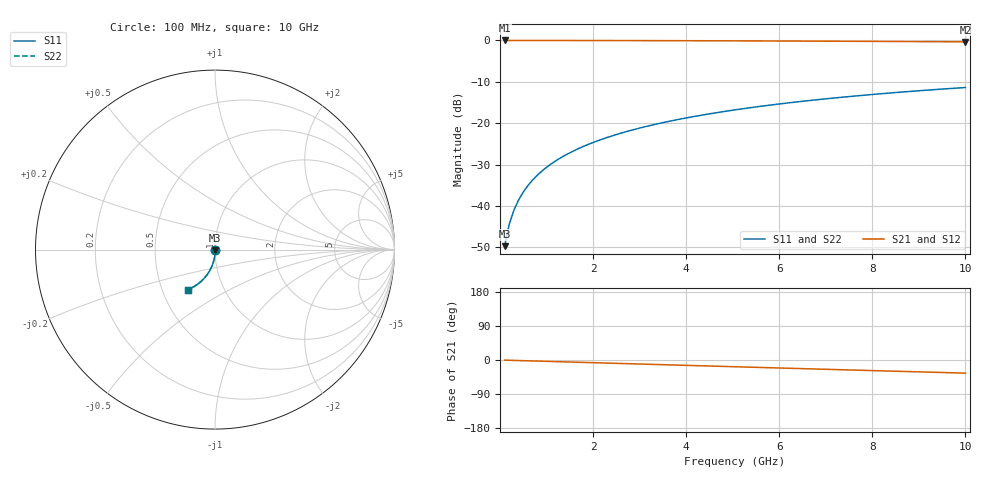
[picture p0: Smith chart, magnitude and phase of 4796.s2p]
# Hz S RI R 50.00
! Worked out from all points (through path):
!   100 points, 100 MHz to 10 GHz, reference 50 ohm
!   highest |S21| = -0.01 dB at 100 MHz (marker M1); lowest = -0.3 dB at 10 GHz (marker M2)
!   group delay of S21, straight-line fit = 9.64 ps
!   lowest |S11| = -49.7 dB at 100 MHz (marker M3), VSWR 1.01, Z = 50.1 - j0.295 ohm
!   |S11| at or under -10 dB: start of sweep to end of sweep
!   |S22| runs from -49.7 to -11.4 dB; largest |S21 - S12| = 0
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1e8  0.00144 -0.00294  0.9985 -0.00617  0.9985 -0.00617  0.00144 -0.00294
2e8  0.00139 -0.00588  0.9984 -0.0123  0.9984 -0.0123  0.00139 -0.00588
3e8  0.0013 -0.00882  0.9983 -0.0185  0.9983 -0.0185  0.0013 -0.00882
4e8  0.00118 -0.0118  0.9981 -0.0247  0.9981 -0.0247  0.00118 -0.0118
5e8  0.00101 -0.0147  0.9979 -0.0309  0.9979 -0.0309  0.00101 -0.0147
6e8  0.000815 -0.0176  0.9976 -0.037  0.9976 -0.037  0.000815 -0.0176
7e8  0.000579 -0.0206  0.9973 -0.0432  0.9973 -0.0432  0.000579 -0.0206
8e8  0.000307 -0.0235  0.997 -0.0494  0.997 -0.0494  0.000307 -0.0235
9e8  -1.96e-06 -0.0264  0.9966 -0.0555  0.9966 -0.0555  -1.96e-06 -0.0264
1.1e9  -0.000728 -0.0322  0.9956 -0.0678  0.9956 -0.0678  -0.000728 -0.0322
1.4e9  -0.00209 -0.041  0.9938 -0.0862  0.9938 -0.0862  -0.00209 -0.041
1.8e9  -0.0044 -0.0525  0.9908 -0.1107  0.9908 -0.1107  -0.0044 -0.0525
2.1e9  -0.0065 -0.061  0.9881 -0.1289  0.9881 -0.1289  -0.0065 -0.061
2.5e9  -0.00979 -0.0723  0.9838 -0.1531  0.9838 -0.1531  -0.00979 -0.0723
2.9e9  -0.0136 -0.0833  0.9788 -0.1771  0.9788 -0.1771  -0.0136 -0.0833
3.4e9  -0.0192 -0.0969  0.9716 -0.2068  0.9716 -0.2068  -0.0192 -0.0969
4.2e9  -0.0297 -0.1177  0.9578 -0.2535  0.9578 -0.2535  -0.0297 -0.1177
5.1e9  -0.0438 -0.1396  0.9392 -0.3046  0.9392 -0.3046  -0.0438 -0.1396
5.9e9  -0.0582 -0.1576  0.9201 -0.3484  0.9201 -0.3484  -0.0582 -0.1576
6.7e9  -0.0742 -0.174  0.8987 -0.3907  0.8987 -0.3907  -0.0742 -0.174
8.4e9  -0.1124 -0.2031  0.8464 -0.4748  0.8464 -0.4748  -0.1124 -0.2031
1e10  -0.1523 -0.2227  0.7903 -0.5461  0.7903 -0.5461  -0.1523 -0.2227
